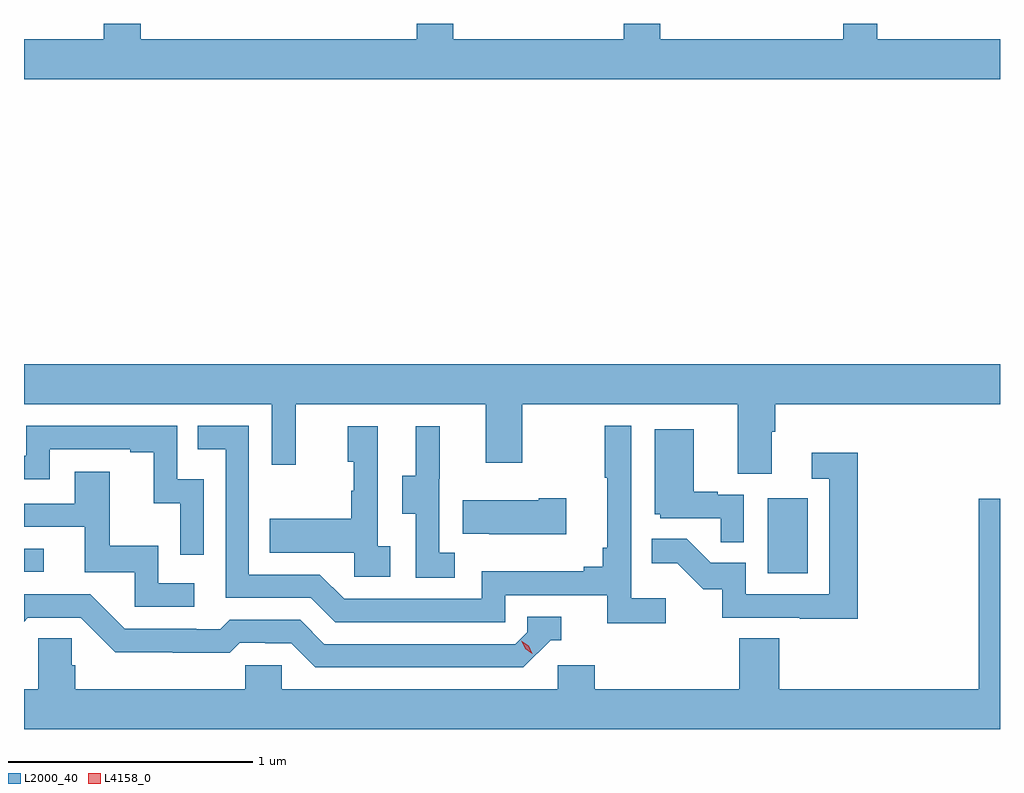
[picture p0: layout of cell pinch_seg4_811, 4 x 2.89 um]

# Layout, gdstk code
import gdstk
lib = gdstk.Library(unit=1e-6, precision=1e-09)
def R(c, l, rs):  # rectangles x0, y0, x1, y1
    for r in rs: c.add(gdstk.rectangle(r[:2], r[2:], *l))
def P(c, l, *ps):  # polygons
    for p in ps: c.add(gdstk.Polygon(p, *l))
L2000_40 = (2000, 40)
L4158_0 = (4158, 0)

pinch_seg4_811 = lib.new_cell('pinch_seg4_811')
R(pinch_seg4_811, L2000_40, [(796.286,792.132,796.45,792.439), (793.238,792.138,793.318,792.231)])
P(pinch_seg4_811, L2000_40, [(797.238,794.32),(796.735,794.32),(796.735,794.383),(796.596,794.383),(796.596,794.32),(795.846,794.32),(795.846,794.383),(795.695,794.383),(795.695,794.32),(794.997,794.32),(794.997,794.383),(794.847,794.383),(794.847,794.32),(793.716,794.32),(793.716,794.383),(793.565,794.383),(793.565,794.32),(793.238,794.32),(793.238,794.156),(797.238,794.156)],
  [(796.303,792.712),(796.316,792.712),(796.316,792.824),(797.238,792.824),(797.238,792.988),(793.238,792.988),(793.238,792.824),(794.253,792.824),(794.253,792.576),(794.351,792.576),(794.351,792.824),(795.131,792.824),(795.131,792.585),(795.279,792.585),(795.279,792.824),(796.163,792.824),(796.163,792.538),(796.303,792.538)],
  [(795.868,792.028),(795.726,792.028),(795.726,792.736),(795.618,792.736),(795.618,792.523),(795.629,792.523),(795.629,792.235),(795.61,792.235),(795.61,792.158),(795.533,792.158),(795.533,792.139),(795.114,792.139),(795.114,792.027),(794.55,792.027),(794.451,792.126),(794.16,792.126),(794.16,792.735),(793.951,792.735),(793.951,792.639),(794.064,792.639),(794.064,792.03),(794.414,792.03),(794.513,791.931),(795.21,791.931),(795.21,792.042),(795.629,792.042),(795.629,791.926),(795.868,791.926)],
  [(793.974,792.516),(793.866,792.516),(793.866,792.735),(793.248,792.735),(793.248,792.612),(793.238,792.612),(793.238,792.516),(793.344,792.516),(793.344,792.639),(793.673,792.639),(793.673,792.627),(793.769,792.627),(793.769,792.419),(793.878,792.419),(793.878,792.207),(793.974,792.207)],
  [(794.74,792.242),(794.688,792.242),(794.688,792.733),(794.564,792.733),(794.564,792.588),(794.59,792.588),(794.59,792.47),(794.58,792.47),(794.58,792.355),(794.245,792.355),(794.245,792.215),(794.592,792.215),(794.592,792.117),(794.74,792.117)],
  [(795.004,792.215),(794.94,792.215),(794.94,792.519),(794.942,792.519),(794.942,792.733),(794.843,792.733),(794.843,792.531),(794.789,792.531),(794.789,792.376),(794.844,792.376),(794.844,792.112),(795.004,792.112)],
  [(796.188,792.453),(796.082,792.453),(796.082,792.466),(795.982,792.466),(795.982,792.721),(795.824,792.721),(795.824,792.372),(795.846,792.372),(795.846,792.357),(796.093,792.357),(796.093,792.259),(796.188,792.259)],
  [(796.655,792.625),(796.467,792.625),(796.467,792.519),(796.539,792.519),(796.539,792.045),(796.197,792.045),(796.197,792.174),(796.053,792.174),(795.955,792.272),(795.811,792.272),(795.811,792.173),(795.915,792.173),(796.022,792.066),(796.099,792.066),(796.099,791.949),(796.417,791.949),(796.417,791.944),(796.655,791.944)],
  [(793.936,792.09),(793.788,792.09),(793.788,792.244),(793.589,792.244),(793.589,792.547),(793.445,792.547),(793.445,792.417),(793.238,792.417),(793.238,792.321),(793.487,792.321),(793.487,792.135),(793.692,792.135),(793.692,791.994),(793.936,791.994)],
  [(795.46,792.438),(795.347,792.438),(795.347,792.43),(795.037,792.43),(795.037,792.293),(795.145,792.293),(795.145,792.29),(795.46,792.29)],
  [(797.238,792.436),(797.15,792.436),(797.15,791.656),(796.334,791.656),(796.334,791.864),(796.169,791.864),(796.169,791.656),(795.578,791.656),(795.578,791.754),(795.426,791.754),(795.426,791.656),(794.295,791.656),(794.295,791.754),(794.145,791.754),(794.145,791.656),(793.448,791.656),(793.448,791.754),(793.433,791.754),(793.433,791.864),(793.296,791.864),(793.296,791.656),(793.238,791.656),(793.238,791.492),(797.238,791.492)],
  [(795.396,791.856),(795.439,791.856),(795.439,791.952),(795.3,791.952),(795.3,791.889),(795.252,791.841),(794.469,791.841),(794.37,791.94),(794.081,791.94),(794.042,791.901),(793.943,791.901),(793.943,791.904),(793.65,791.904),(793.509,792.045),(793.238,792.045),(793.238,791.933),(793.254,791.949),(793.47,791.949),(793.612,791.807),(793.848,791.807),(793.848,791.805),(794.081,791.805),(794.123,791.847),(794.226,791.847),(794.226,791.844),(794.333,791.844),(794.432,791.745),(795.285,791.745)])
P(pinch_seg4_811, L4158_0, [(795.322,791.802),(795.292,791.822),(795.276,791.854),(795.276,791.854),(795.276,791.854),(795.306,791.835),(795.322,791.802),(795.322,791.802)])

lib.write_gds('pinch_seg4_811.gds')
